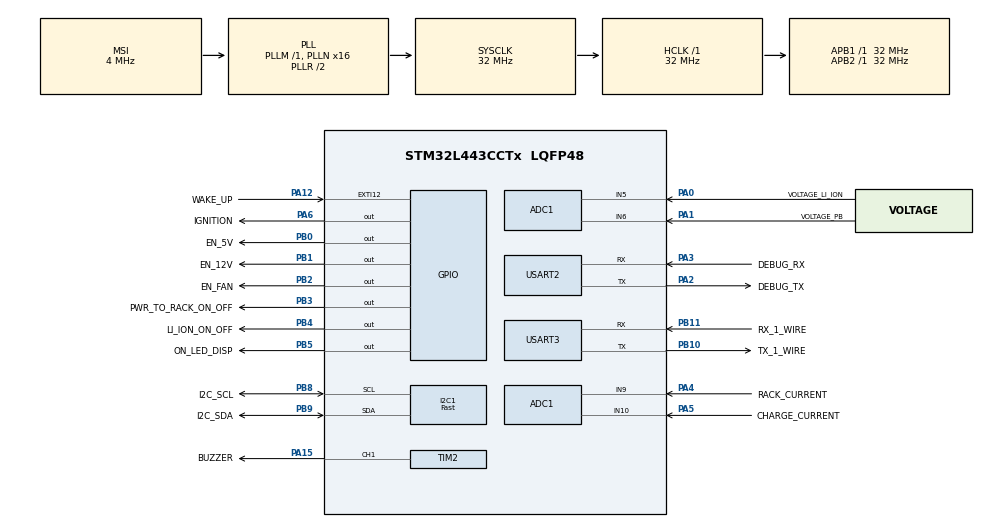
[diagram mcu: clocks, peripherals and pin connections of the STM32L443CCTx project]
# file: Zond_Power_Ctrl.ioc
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ADC1.Channel-0\#ChannelRegularConversion=ADC_CHANNEL_5
ADC1.Channel-1\#ChannelRegularConversion=ADC_CHANNEL_6
ADC1.Channel-2\#ChannelRegularConversion=ADC_CHANNEL_9
ADC1.Channel-3\#ChannelRegularConversion=ADC_CHANNEL_10
ADC1.NbrOfConversion=4
ADC1.NbrOfConversionFlag=1
ADC1.OffsetNumber-0\#ChannelRegularConversion=ADC_OFFSET_NONE
ADC1.OffsetNumber-1\#ChannelRegularConversion=ADC_OFFSET_NONE
ADC1.OffsetNumber-2\#ChannelRegularConversion=ADC_OFFSET_NONE
ADC1.OffsetNumber-3\#ChannelRegularConversion=ADC_OFFSET_NONE
ADC1.OversamplingMode=DISABLE
ADC1.Rank-0\#ChannelRegularConversion=1
ADC1.Rank-1\#ChannelRegularConversion=2
ADC1.Rank-2\#ChannelRegularConversion=3
ADC1.Rank-3\#ChannelRegularConversion=4
ADC1.SamplingTime-0\#ChannelRegularConversion=ADC_SAMPLETIME_2CYCLES_5
ADC1.SamplingTime-1\#ChannelRegularConversion=ADC_SAMPLETIME_2CYCLES_5
ADC1.SamplingTime-2\#ChannelRegularConversion=ADC_SAMPLETIME_2CYCLES_5
ADC1.SamplingTime-3\#ChannelRegularConversion=ADC_SAMPLETIME_2CYCLES_5
ADC1.master=1
Dma.ADC1.0.Direction=DMA_PERIPH_TO_MEMORY
Dma.ADC1.0.Instance=DMA1_Channel1
Dma.ADC1.0.MemDataAlignment=DMA_MDATAALIGN_HALFWORD
Dma.ADC1.0.MemInc=DMA_MINC_ENABLE
Dma.ADC1.0.Mode=DMA_NORMAL
Dma.ADC1.0.PeriphDataAlignment=DMA_PDATAALIGN_HALFWORD
Dma.ADC1.0.PeriphInc=DMA_PINC_DISABLE
Dma.ADC1.0.Priority=DMA_PRIORITY_LOW
Dma.Request0=ADC1
I2C1.CustomTiming=Enabled
I2C1.I2C_Speed_Mode=I2C_Fast
I2C1.Timing=0x00702991
Mcu.Family=STM32L4
Mcu.Name=STM32L443CCTx
Mcu.Package=LQFP48
NVIC.ADC1_IRQn=true\:0\:0\:false\:false\:true\:true\:true
NVIC.DMA1_Channel1_IRQn=true\:0\:0\:false\:false\:true\:false\:true
NVIC.EXTI15_10_IRQn=true\:0\:0\:false\:false\:true\:true\:true
NVIC.I2C1_ER_IRQn=true\:0\:0\:false\:false\:true\:true\:true
NVIC.I2C1_EV_IRQn=true\:0\:0\:false\:false\:true\:true\:true
NVIC.PVD_PVM_IRQn=true\:0\:0\:false\:false\:true\:true\:true
NVIC.PriorityGroup=NVIC_PRIORITYGROUP_4
NVIC.TIM1_UP_TIM16_IRQn=true\:0\:0\:false\:false\:true\:true\:true
NVIC.USART2_IRQn=true\:0\:0\:false\:false\:true\:true\:true
NVIC.USART3_IRQn=true\:0\:0\:false\:false\:true\:true\:true
PA0.GPIO_Label=VOLTAGE_LI_ION
PA0.Signal=ADCx_IN5
PA1.GPIO_Label=VOLTAGE_PB
PA1.Signal=ADCx_IN6
PA12.GPIO_Label=WAKE_UP
PA12.GPIO_ModeDefaultEXTI=GPIO_MODE_IT_FALLING
PA12.Signal=GPXTI12
PA13\ (JTMS-SWDIO).Mode=Serial_Wire
PA13\ (JTMS-SWDIO).Signal=SYS_JTMS-SWDIO
PA14\ (JTCK-SWCLK).Mode=Serial_Wire
PA14\ (JTCK-SWCLK).Signal=SYS_JTCK-SWCLK
PA15\ (JTDI).GPIO_Label=BUZZER
PA15\ (JTDI).Signal=S_TIM2_CH1
PA2.GPIO_Label=DEBUG_TX
PA2.Mode=Asynchronous
PA2.Signal=USART2_TX
PA3.GPIO_Label=DEBUG_RX
PA3.Mode=Asynchronous
PA3.Signal=USART2_RX
PA4.GPIO_Label=RACK_CURRENT
PA4.Signal=ADCx_IN9
PA5.GPIO_Label=CHARGE_CURRENT
PA5.Signal=ADCx_IN10
PA6.GPIO_Label=IGNITION
PA6.Signal=GPIO_Output
PB0.GPIO_Label=EN_5V
PB0.Signal=GPIO_Output
PB1.GPIO_Label=EN_12V
PB1.Signal=GPIO_Output
PB10.GPIO_Label=TX_1_WIRE
PB10.Mode=Asynchronous
PB10.Signal=USART3_TX
PB11.GPIO_Label=RX_1_WIRE
PB11.Mode=Asynchronous
PB11.Signal=USART3_RX
PB13.Signal=I2C2_SCL
PB14.Signal=I2C2_SDA
PB2.GPIO_Label=EN_FAN
PB2.Signal=GPIO_Output
PB3\ (JTDO-TRACESWO).GPIO_Label=PWR_TO_RACK_ON_OFF
PB3\ (JTDO-TRACESWO).Signal=GPIO_Output
PB4\ (NJTRST).GPIO_Label=LI_ION_ON_OFF
PB4\ (NJTRST).Signal=GPIO_Output
PB5.GPIO_Label=ON_LED_DISP
PB5.Signal=GPIO_Output
PB8.GPIO_Label=I2C_SCL
PB8.GPIO_Pu=GPIO_PULLUP
PB8.Mode=I2C
PB8.Signal=I2C1_SCL
PB9.GPIO_Label=I2C_SDA
PB9.GPIO_Pu=GPIO_PULLUP
PB9.Mode=I2C
PB9.Signal=I2C1_SDA
ProjectManager.HeapSize=0x200
ProjectManager.StackSize=0x400
ProjectManager.TargetToolchain=STM32CubeIDE
RCC.ADCFreq_Value=32000000
RCC.AHBFreq_Value=32000000
RCC.APB1Freq_Value=32000000
RCC.APB1TimFreq_Value=32000000
RCC.APB2Freq_Value=32000000
RCC.APB2TimFreq_Value=32000000
RCC.CortexFreq_Value=32000000
RCC.HCLKFreq_Value=32000000
RCC.HSE_VALUE=16000000
RCC.HSI48_VALUE=48000000
RCC.HSI_VALUE=16000000
RCC.LSE_VALUE=32768
RCC.MSI_VALUE=4000000
RCC.PLLN=16
RCC.PLLSAI1N=16
RCC.SYSCLKFreq_VALUE=32000000
RCC.SYSCLKSource=RCC_SYSCLKSOURCE_PLLCLK
RCC.USBFreq_Value=32000000
RCC.VCOOutputFreq_Value=64000000
SH.ADCx_IN10.0=ADC1_IN10,IN10-Single-Ended
SH.ADCx_IN5.0=ADC1_IN5,IN5-Single-Ended
SH.ADCx_IN6.0=ADC1_IN6,IN6-Single-Ended
SH.ADCx_IN9.0=ADC1_IN9,IN9-Single-Ended
SH.S_TIM2_CH1.0=TIM2_CH1,PWM Generation1 CH1
TIM1.Prescaler=7200
TIM2.Channel-PWM\ Generation1\ CH1=TIM_CHANNEL_1
TIM2.Period=122
TIM2.Prescaler=65535
TIM2.Pulse-PWM\ Generation1\ CH1=122/2
TIM6.Period=6000
TIM6.Prescaler=65535
USART2.VirtualMode-Asynchronous=VM_ASYNC
USART3.VirtualMode-Asynchronous=VM_ASYNC
VP_TIM1_VS_ClockSourceINT.Mode=Internal
VP_TIM6_VS_ClockSourceINT.Mode=Enable_Timer
board=Zond_Power_Ctrl

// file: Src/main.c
/* USER CODE BEGIN Header */
/**
 ******************************************************************************
 * @file           : main.c
 * @brief          : Main program body
 ******************************************************************************
 * @attention
 *
 * <h2><center>&copy; Copyright (c) 2021 STMicroelectronics.
 * All rights reserved.</center></h2>
 *
 * This software component is licensed by ST under BSD 3-Clause license,
 * the "License"; You may not use this file except in compliance with the
 * License. You may obtain a copy of the License at:
 *                        opensource.org/licenses/BSD-3-Clause
 *
 ******************************************************************************
 */
/* USER CODE END Header */
#include "main.h"
#include "adc.h"
#include "dma.h"
#include "i2c.h"
#include "tim.h"
#include "usart.h"
#include "gpio.h"

/* USER CODE BEGIN Includes */
#include <stdio.h>
#include <stdbool.h>
#include <math.h>
#include <string.h>
#include "display.h"
/* USER CODE END Includes */

/* USER CODE BEGIN PV */

int TEMPVALUE = 0;

//uint16_t adc[4];

struct {
    uint16_t Li_Ion_Voltage;
    uint16_t Pb_Voltage;
    uint16_t Charge_Current;
    uint16_t Rack_Current;
} adc;
uint8_t UART_Buf[2];

int8_t devices;
uint8_t sensor;
OneWire ow;
Temperature t;
char *crcOK;

bool BTN_Event_Fl = false;
/* USER CODE END PV */

void SystemClock_Config(void);
/* USER CODE BEGIN PFP */

void Device_Init(void);
void Get_Values(void);
void Check_Status(void);
void Sleep_Time(void);
void Beep_Beep(void);
void Display_Info(char* str, uint8_t x, uint8_t y, FontDef_t font);
int16_t Get_Temperature(void);

void BTN_Event(void);
Pwr_ctrl_t* Power_Ctrl_Init(Pwr_ctrl_t* s);
/* USER CODE END PFP */

int main(void)
{

  /* MCU Configuration--------------------------------------------------------*/

  /* Reset of all peripherals, Initializes the Flash interface and the Systick. */
  HAL_Init();

  /* Configure the system clock */
  SystemClock_Config();

  /* Initialize all configured peripherals */
  MX_GPIO_Init();
  MX_DMA_Init();
  MX_ADC1_Init();
  MX_I2C1_Init();
  MX_TIM1_Init();
  MX_USART2_UART_Init();
  MX_USART3_UART_Init();
  MX_TIM2_Init();
  MX_TIM6_Init();
  /* USER CODE BEGIN 2 */
  Enable_Rack();

	//__HAL_UART_ENABLE_IT(&huart1, UART_IT_RXNE); // ��������� ���������� �� ������ �� UART1
//	Beep_Off();
  Power_Ctrl_Init(&PWR_CTRL);
	HAL_GPIO_WritePin(ON_LED_DISP_GPIO_Port, ON_LED_DISP_Pin, GPIO_PIN_SET);

	get_ROMid();

	Device_Init();
	PWR_CTRL.First_Time = true;

	SSD1306_ON();
	SSD1306_Init();

  /* USER CODE END 2 */

  /* Infinite loop */
  /* USER CODE BEGIN WHILE */
	printf("Entering while\r\n");
	while (1)
	{
//		HAL_GPIO_WritePin(RACK_ON_OFF_GPIO_Port, RACK_ON_OFF_Pin, GPIO_PIN_SET);
		Get_Values();	// получаем значение основных параметров
		Check_Status();	// выполняем проверку по параметрам
		if(BTN_Event_Fl == true)
		{
			BTN_Event_Fl = false;
			BTN_Event();
		}else {

		}
//		debug_disp();
    /* USER CODE END WHILE */

    /* USER CODE BEGIN 3 */
		printf("looped\r\n");
	}
  /* USER CODE END 3 */
}

void SystemClock_Config(void)
{
  RCC_OscInitTypeDef RCC_OscInitStruct = {0};
  RCC_ClkInitTypeDef RCC_ClkInitStruct = {0};

  /** Configure the main internal regulator output voltage
  */
  if (HAL_PWREx_ControlVoltageScaling(PWR_REGULATOR_VOLTAGE_SCALE1) != HAL_OK)
  {
    Error_Handler();
  }
  /** Initializes the RCC Oscillators according to the specified parameters
  * in the RCC_OscInitTypeDef structure.
  */
  RCC_OscInitStruct.OscillatorType = RCC_OSCILLATORTYPE_MSI;
  RCC_OscInitStruct.MSIState = RCC_MSI_ON;
  RCC_OscInitStruct.MSICalibrationValue = 0;
  RCC_OscInitStruct.MSIClockRange = RCC_MSIRANGE_6;
  RCC_OscInitStruct.PLL.PLLState = RCC_PLL_ON;
  RCC_OscInitStruct.PLL.PLLSource = RCC_PLLSOURCE_MSI;
  RCC_OscInitStruct.PLL.PLLM = 1;
  RCC_OscInitStruct.PLL.PLLN = 16;
  RCC_OscInitStruct.PLL.PLLP = RCC_PLLP_DIV7;
  RCC_OscInitStruct.PLL.PLLQ = RCC_PLLQ_DIV2;
  RCC_OscInitStruct.PLL.PLLR = RCC_PLLR_DIV2;
  if (HAL_RCC_OscConfig(&RCC_OscInitStruct) != HAL_OK)
  {
    Error_Handler();
  }
  /** Initializes the CPU, AHB and APB buses clocks
  */
  RCC_ClkInitStruct.ClockType = RCC_CLOCKTYPE_HCLK|RCC_CLOCKTYPE_SYSCLK
                              |RCC_CLOCKTYPE_PCLK1|RCC_CLOCKTYPE_PCLK2;
  RCC_ClkInitStruct.SYSCLKSource = RCC_SYSCLKSOURCE_PLLCLK;
  RCC_ClkInitStruct.AHBCLKDivider = RCC_SYSCLK_DIV1;
  RCC_ClkInitStruct.APB1CLKDivider = RCC_HCLK_DIV1;
  RCC_ClkInitStruct.APB2CLKDivider = RCC_HCLK_DIV1;

  if (HAL_RCC_ClockConfig(&RCC_ClkInitStruct, FLASH_LATENCY_1) != HAL_OK)
  {
    Error_Handler();
  }
}

/* USER CODE BEGIN 4 */
Pwr_ctrl_t* Power_Ctrl_Init(Pwr_ctrl_t* s){
	Pwr_ctrl_t temp = {
			.Charger_On = false,
			.Ingition_On = false,
			.Li_Ion_On = false,
			.Rack_On = false,
			.Five_V_On = false,
			.Twelve_V_On = false,
			.Fan_On = false,
	};
	memcpy(s, &temp, sizeof(Pwr_ctrl_t));
	return s;
}
void Device_Init(void)
{

	PWR_CTRL.ADC_busy = true;
	//включаем 12 Вольт
	Enable_12V();

	//выключаем 5 Вольт
//	Disable_5V();
	Enable_5V();

	//выключаем вентилятор
	Disable_Fan();

	//выключаем ЗУ
	Ignition_Off();
	PWR_CTRL.Charger_On = false;

	// значения АЦП не готовы
	PWR_CTRL.ADC_busy = true;
	PWR_CTRL.Voltage_Pb = 0;

	HAL_Delay(10000);
	HAL_ADC_Start_DMA(&hadc1, (uint32_t*)&adc, 2);

	// запускаем таймер включения ото сна
	HAL_TIM_Base_Start_IT(&htim1);
	PWR_CTRL.ADC_busy = false;
}

void Get_Values(void)
{
	// стартуем АЦП
	HAL_ADC_Start_DMA(&hadc1, (uint32_t*)&adc, 4);
//	PWR_CTRL.ADC_busy = true;
	//запрашиваем температуру
	TEMPVALUE = Get_Temperature();
}

void Check_Status(void)
{
	char str[50];

	if (is_Rack_OK())
	{
		Disable_Rack();
		sprintf(str, "CURRENT OVERFLOW");
		Display_Info(str, 10, 50, Font_7x10);
		Beep_Beep();
	}
	else
	{
		Beep_Off();
		Enable_Rack();
	}
	if (is_Charge_OK())
	{
		Ignition_On();
		PWR_CTRL.Charger_On = true;
	}
	else
	{
		Ignition_Off();
		PWR_CTRL.Charger_On = false;
		if (is_Charge_Alarm())
		{
			sprintf(str, "CHECK CHARGE!");
			Display_Info(str, 10, 50, Font_7x10);
			Beep_Beep();
		}
		else
		{
			Beep_Off();
		}
	}

//	if  (is_Li_Ion_OK())
//	{
//		Disable_Li_Ion();
//	}
//	else
//	{
//		Enable_Li_Ion();
//	}

	if ((TEMPVALUE > 25) && (PWR_CTRL.Twelve_V_On == true)) Enable_Fan();
	else if ((TEMPVALUE < 20) && (PWR_CTRL.Twelve_V_On == true)) Disable_Fan();
	else if ((TEMPVALUE > 25) && (PWR_CTRL.Twelve_V_On == false))
	{
		Enable_12V();
		HAL_Delay(1);
		Enable_Fan();
	}
}

void Display_Info(char* str, uint8_t x, uint8_t y, FontDef_t font)
{
#ifdef OLED_DISPLAY
	SSD1306_GotoXY(x, y); //Устанавливаем курсор в позицию 0;44. Сначала по горизонтали, потом вертикали.
	SSD1306_Puts(str, &font, SSD1306_COLOR_WHITE); //пишем надпись в выставленной позиции шрифтом "Font_7x10" белым цветом
#elif defined (LCD_DISPLAY)
	LCD_Init();
	LCD_SetPos(x, y);
	LCD_String(str);
#endif

	puts(str);
}

void BTN_Event(void)
{
	char Li_Ion[] = "Li-Ion";
	char Temp[] = "Temp";
	char Current[] = "Current";
	char Charge[] = "Charge";
	if (PWR_CTRL.ADC_busy == false)
	{
		char str[25];
//		PWR_CTRL.ADC_busy = true;
//		Get_Values();

//		Enable_5V();
//		HAL_Delay(150);
		// инициализация после включения
		SSD1306_ON();
		SSD1306_Init();

		// Отображаем результаты измерений напряжения

		Display_Info(Li_Ion, 5, 5, Font_16x26);
		if(PWR_CTRL.Voltage_Li_Ion < LI_ION_MIN_VOLTAGE){
			sprintf(str, "OFF");
		}else{
			sprintf(str, "%dV", (int)PWR_CTRL.Voltage_Li_Ion);
		}
		Display_Info(str, 5, 30, Font_16x26);
		SSD1306_UpdateScreen();

		// Ожидаем и после затираем экран
		HAL_Delay(3000);
		SSD1306_Fill(SSD1306_COLOR_BLACK);

		// Отображаем результаты измерений температуры
		//sprintf(str, %3d.%dC",t.inCelsus, t.frac);
		sprintf(str, "%dC", TEMPVALUE);
		Display_Info(Temp, 5, 5, Font_16x26);
		Display_Info(str, 5, 30, Font_16x26);
		SSD1306_UpdateScreen();

		// Ожидаем и после затираем экран
		HAL_Delay(3000);
		SSD1306_Fill(SSD1306_COLOR_BLACK);

		// Rack power
		//sprintf(str, %3d.%dC",t.inCelsus, t.frac);
		Display_Info(Current, 5, 5, Font_16x26);
		if(PWR_CTRL.Rack_Current < 2.0){
			sprintf(str, "Rack off");
		}else{
			sprintf(str, "%dA", (int)PWR_CTRL.Rack_Current);
		}
		Display_Info(str, 5, 30, Font_11x18);
		SSD1306_UpdateScreen();

		// Ожидаем и после затираем экран
		HAL_Delay(3000);
		SSD1306_Fill(SSD1306_COLOR_BLACK);

		// Отображаем результаты измерений тока заряда
		Display_Info(Charge, 5, 5, Font_16x26);
		if(PWR_CTRL.Charge_Current < 2.0){
			sprintf(str, "OFF");
		}else{
			sprintf(str, "%dA", (int)PWR_CTRL.Charge_Current);
		}
		Display_Info(str, 5, 30, Font_16x26);
		SSD1306_UpdateScreen();

		HAL_Delay(3000);
		// Стираем результаты измерений
		SSD1306_Fill(SSD1306_COLOR_BLACK);
		SSD1306_UpdateScreen();
		SSD1306_OFF();
//		Disable_5V();
		HAL_Delay(5000);
	}

}

void Beep_Beep(void)
{
	Beep_On();
}

void Sleep_Time(void)
{
	//HAL_PWR_DisableSleepOnExit(); // очистить
	HAL_SuspendTick(); //HAL_ResumeTick();
	HAL_PWR_EnterSLEEPMode(PWR_LOWPOWERREGULATOR_ON, PWR_SLEEPENTRY_WFI);
}

//-----------------------------------------------------------------------------
//                               DS18B20
//-----------------------------------------------------------------------------

/* USER CODE BEGIN 4 */
int __io_putchar(int ch)
{
	HAL_UART_Transmit(&huart2, (uint8_t*)&ch, 1, 0xffff);
	return ch;
}

void get_ROMid (void){
	if (owResetCmd() != ONEWIRE_NOBODY) {    // is anybody on the bus?
		devices = owSearchCmd(&ow);        // получить ROMid всех устройст на шине или вернуть код ошибки
		if (devices <= 0) {
			printf("\n\rError has happened!");
			while (1){
				int pDelay = 1000000;
				for (int i = 0; i < pDelay * 1; i++){}
			}

		}
		printf("\n\rfound %d devices on 1-wire bus", devices);

		for (int i = 0; i < devices; i++) {//выводим в консоль все найденные ROM
			RomCode *r = &ow.ids[i];
			uint8_t crc = owCRC8(r);
			crcOK = (crc == r->crc)?"CRC OK":"CRC ERROR!";
			printf("\n\rdevice %d (SN: %02X/%02X%02X%02X%02X%02X%02X/%02X) ", i, r->family, r->code[5], r->code[4], r->code[3],
					r->code[2], r->code[1], r->code[0], r->crc);
			printf("crcOK");
			if (crc != r->crc) {
				printf("\n\r can't read cause CNC error");
			}
		}
	}
	int pDelay = 1000000;
	for (int i = 0; i < pDelay * 1; i++){} asm("nop");
}

int16_t Get_Temperature(void)
{
	int16_t Temperature = 0;

	for ( int i = 0 ; i < devices; i++) {
		//Temperature t;
		switch ((ow.ids[i]).family) {//че у нас за датчик
		case DS18B20:
			// будет возвращено значение предыдущего измерения!
			t = readTemperature(&ow, &ow.ids[i], 1);
			printf("\n\rDS18B20 N_%d , Temp: %3d.%dC",i,t.inCelsus, t.frac);
			Temperature += t.inCelsus + t.frac/10;
			break;
		case DS18S20:
			t = readTemperature(&ow, &ow.ids[i], 1);
			printf("\n\rDS18S20 , Temp: %3d.%dC", t.inCelsus, t.frac);
			Temperature += t.inCelsus + t.frac/10;
			break;
			//		case 0x00:
			//			break;
		default:
			printf("\n\rUNKNOWN Family:%x (SN: %x%x%x%x%x%x)", (ow.ids[i]).family, (ow.ids[i]).code[0],(ow.ids[i]).code[1],(ow.ids[i]).code[2],
					(ow.ids[i]).code[3], (ow.ids[i]).code[4], (ow.ids[i]).code[5]);
			break;
		}
	}
	static int counter;
	printf("\n\r%d",counter++);
	int pDelay = 16000000;
	for (int i = 0; i < pDelay * 1; i++) {}//asm("nop");
	if(devices != 0){
		Temperature = Temperature/devices;
	}
	return Temperature;
}

//-----------------------------------------------------------------------------
//                               CALLBACK
//-----------------------------------------------------------------------------

//------------------------------------------------------------------------------
// обработка прерываний АЦП
//------------------------------------------------------------------------------

void HAL_ADC_ConvCpltCallback(ADC_HandleTypeDef* hadc)
{
	(void)hadc;
	//HAL_ResumeTick();
	double Charge, Rack;

//	HAL_ADC_Stop_DMA(&hadc1);

	if (PWR_CTRL.First_Time == true)
	{

		double Rack_VREF_temp = (CURRENT_RDIV_VALUE * BAT_ADC_VREF * adc.Charge_Current)/4096.0;

		double Charge_VREF_temp = (CURRENT_RDIV_VALUE * BAT_ADC_VREF * adc.Rack_Current)/4096.0;

		Pwr_ctrl_t temp_s = {PWR_CTRL.Voltage_Li_Ion, PWR_CTRL.Voltage_Pb,
			PWR_CTRL.Prev_Voltage_Pb, PWR_CTRL.Charge_Current, PWR_CTRL.Rack_Current,
			Charge_VREF_temp, Rack_VREF_temp,
			PWR_CTRL.Charger_On, PWR_CTRL.Ingition_On,
			PWR_CTRL.Li_Ion_On, PWR_CTRL.Rack_On,
			PWR_CTRL.Five_V_On, PWR_CTRL.Twelve_V_On,
			PWR_CTRL.Fan_On, PWR_CTRL.ADC_busy,
			PWR_CTRL.First_Time, PWR_CTRL.Beep_On};
		memcpy(&PWR_CTRL, &temp_s, sizeof(Pwr_ctrl_t));
//		PWR_CTRL.Rack_VREF    = (CURRENT_RDIV_VALUE * BAT_ADC_VREF * adc.Charge_Current)/4096.0;
//		PWR_CTRL.Charge_VREF  = (CURRENT_RDIV_VALUE * BAT_ADC_VREF * adc.Rack_Current)/4096.0;

		PWR_CTRL.First_Time = false;
	}

	PWR_CTRL.Prev_Voltage_Pb  = PWR_CTRL.Voltage_Pb;
	PWR_CTRL.Voltage_Li_Ion   = ((LI_RDIV_VALUE * BAT_ADC_VREF) * adc.Li_Ion_Voltage/4096.0);
	PWR_CTRL.Voltage_Pb       = ((PB_RDIV_VALUE * BAT_ADC_VREF * adc.Pb_Voltage)/4096.0);
	Rack                      = (CURRENT_RDIV_VALUE * BAT_ADC_VREF * adc.Charge_Current)/4096.0;
	PWR_CTRL.Rack_Current     = (fabs((Rack - PWR_CTRL.Rack_VREF) * 50));
	Charge                    = (CURRENT_RDIV_VALUE * BAT_ADC_VREF * adc.Rack_Current)/4096.0;
	PWR_CTRL.Charge_Current   = (fabs((Charge - PWR_CTRL.Charge_VREF) * 50));

	PWR_CTRL.ADC_busy = false;

}

//------------------------------------------------------------------------------
// обработка прерывания от Кнопки
//------------------------------------------------------------------------------
void HAL_GPIO_EXTI_Callback(uint16_t GPIO_PIN)
{
//		uint8_t TM = 0;

	if (GPIO_PIN == WAKE_UP_Pin)
	{
		BTN_Event_Fl = true;

//				BTN_Event();
//		HAL_ResumeTick();
//				while ((HAL_GPIO_ReadPin(WAKE_UP_GPIO_Port, WAKE_UP_Pin) == GPIO_PIN_RESET) &&
//						(TM < 200))
//				{
//					TM++;
//					if (TM >= 150) BTN_Event();
//				}
	}
}

//------------------------------------------------------------------------------
// обработка прерывания от Таймера
//------------------------------------------------------------------------------

void HAL_TIM_PeriodElapsedCallback(TIM_HandleTypeDef *htim)
{
	if(htim->Instance == TIM1) //check if the interrupt comes from TIM1
	{

	}
}

/* USER CODE END 4 */

void Error_Handler(void)
{
	while(1)
	{
	}
}

/************************ (C) COPYRIGHT STMicroelectronics *****END OF FILE****/
